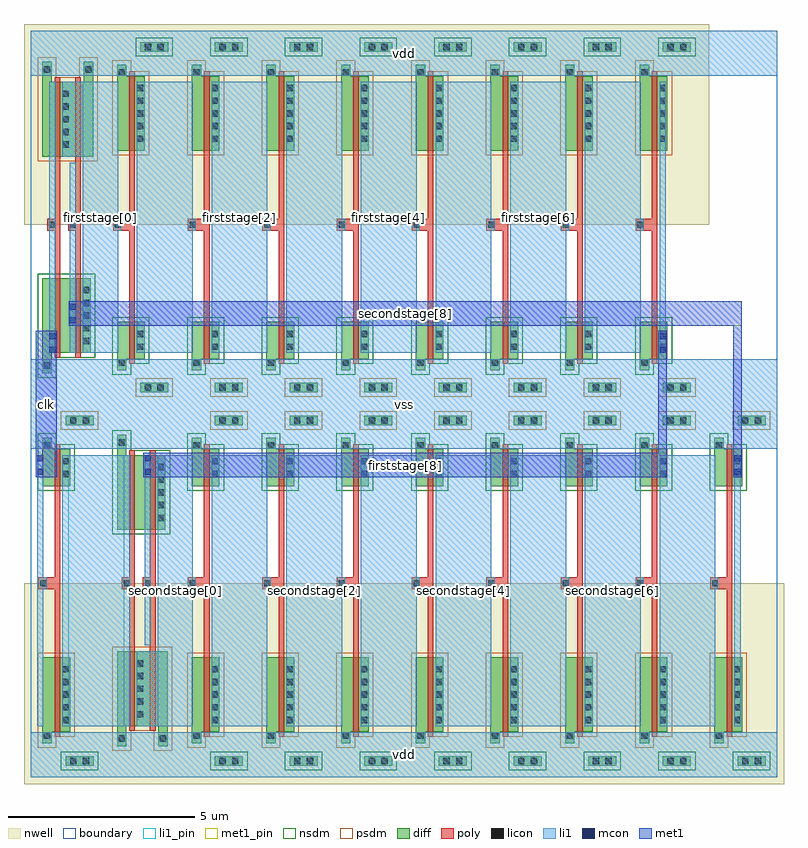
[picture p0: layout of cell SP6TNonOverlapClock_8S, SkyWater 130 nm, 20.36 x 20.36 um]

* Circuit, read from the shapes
.subckt SP6TNonOverlapClock_8S clk firststage[0] firststage[1] firststage[2] firststage[3] firststage[4] firststage[5] firststage[6] firststage[7] firststage[8] secondstage[0] secondstage[1] secondstage[2] secondstage[3] secondstage[4] secondstage[5] secondstage[6] secondstage[7] secondstage[8] vdd vss
XM1 nand2_x0_10/i0 clk vss VSUBS sky130_fd_pr__nfet_01v8 w=1 l=0.15
XM2 n1 clk vss VSUBS sky130_fd_pr__nfet_01v8 w=2 l=0.15
XM3 firststage[0] secondstage[8] n1 VSUBS sky130_fd_pr__nfet_01v8 w=2 l=0.15
XM4 n2 nand2_x0_10/i0 vss VSUBS sky130_fd_pr__nfet_01v8 w=2 l=0.15
XM5 firststage[1] firststage[0] vss VSUBS sky130_fd_pr__nfet_01v8 w=1 l=0.15
XM6 secondstage[0] firststage[8] n2 VSUBS sky130_fd_pr__nfet_01v8 w=2 l=0.15
XM7 secondstage[1] secondstage[0] vss VSUBS sky130_fd_pr__nfet_01v8 w=1 l=0.15
XM8 firststage[2] firststage[1] vss VSUBS sky130_fd_pr__nfet_01v8 w=1 l=0.15
XM9 secondstage[2] secondstage[1] vss VSUBS sky130_fd_pr__nfet_01v8 w=1 l=0.15
XM10 firststage[3] firststage[2] vss VSUBS sky130_fd_pr__nfet_01v8 w=1 l=0.15
XM11 secondstage[3] secondstage[2] vss VSUBS sky130_fd_pr__nfet_01v8 w=1 l=0.15
XM12 firststage[4] firststage[3] vss VSUBS sky130_fd_pr__nfet_01v8 w=1 l=0.15
XM13 secondstage[4] secondstage[3] vss VSUBS sky130_fd_pr__nfet_01v8 w=1 l=0.15
XM14 firststage[5] firststage[4] vss VSUBS sky130_fd_pr__nfet_01v8 w=1 l=0.15
XM15 secondstage[5] secondstage[4] vss VSUBS sky130_fd_pr__nfet_01v8 w=1 l=0.15
XM16 firststage[6] firststage[5] vss VSUBS sky130_fd_pr__nfet_01v8 w=1 l=0.15
XM17 secondstage[6] secondstage[5] vss VSUBS sky130_fd_pr__nfet_01v8 w=1 l=0.15
XM18 firststage[7] firststage[6] vss VSUBS sky130_fd_pr__nfet_01v8 w=1 l=0.15
XM19 secondstage[7] secondstage[6] vss VSUBS sky130_fd_pr__nfet_01v8 w=1 l=0.15
XM20 firststage[8] firststage[7] vss VSUBS sky130_fd_pr__nfet_01v8 w=1 l=0.15
XM21 secondstage[8] secondstage[7] vss VSUBS sky130_fd_pr__nfet_01v8 w=1 l=0.15
XM22 nand2_x0_10/i0 clk vdd n3 sky130_fd_pr__pfet_01v8 w=2 l=0.15
XM23 firststage[0] clk vdd n4 sky130_fd_pr__pfet_01v8 w=2 l=0.15
XM24 vdd secondstage[8] firststage[0] n4 sky130_fd_pr__pfet_01v8 w=2 l=0.15
XM25 secondstage[0] nand2_x0_10/i0 vdd n3 sky130_fd_pr__pfet_01v8 w=2 l=0.15
XM26 firststage[1] firststage[0] vdd n4 sky130_fd_pr__pfet_01v8 w=2 l=0.15
XM27 vdd firststage[8] secondstage[0] n3 sky130_fd_pr__pfet_01v8 w=2 l=0.15
XM28 secondstage[1] secondstage[0] vdd n3 sky130_fd_pr__pfet_01v8 w=2 l=0.15
XM29 firststage[2] firststage[1] vdd n4 sky130_fd_pr__pfet_01v8 w=2 l=0.15
XM30 secondstage[2] secondstage[1] vdd n3 sky130_fd_pr__pfet_01v8 w=2 l=0.15
XM31 firststage[3] firststage[2] vdd n4 sky130_fd_pr__pfet_01v8 w=2 l=0.15
XM32 secondstage[3] secondstage[2] vdd n3 sky130_fd_pr__pfet_01v8 w=2 l=0.15
XM33 firststage[4] firststage[3] vdd n4 sky130_fd_pr__pfet_01v8 w=2 l=0.15
XM34 secondstage[4] secondstage[3] vdd n3 sky130_fd_pr__pfet_01v8 w=2 l=0.15
XM35 firststage[5] firststage[4] vdd n4 sky130_fd_pr__pfet_01v8 w=2 l=0.15
XM36 secondstage[5] secondstage[4] vdd n3 sky130_fd_pr__pfet_01v8 w=2 l=0.15
XM37 firststage[6] firststage[5] vdd n4 sky130_fd_pr__pfet_01v8 w=2 l=0.15
XM38 secondstage[6] secondstage[5] vdd n3 sky130_fd_pr__pfet_01v8 w=2 l=0.15
XM39 firststage[7] firststage[6] vdd n4 sky130_fd_pr__pfet_01v8 w=2 l=0.15
XM40 secondstage[7] secondstage[6] vdd n3 sky130_fd_pr__pfet_01v8 w=2 l=0.15
XM41 firststage[8] firststage[7] vdd n4 sky130_fd_pr__pfet_01v8 w=2 l=0.15
XM42 secondstage[8] secondstage[7] vdd n3 sky130_fd_pr__pfet_01v8 w=2 l=0.15
.ends

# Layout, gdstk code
import gdstk
lib = gdstk.Library(unit=1e-6, precision=1e-09)
def R(c, l, rs):  # rectangles x0, y0, x1, y1
    for r in rs: c.add(gdstk.rectangle(r[:2], r[2:], *l))
def A(c, l, x, y, w, h, nx, ny, dx, dy):  # array of equal rectangles
    R(c, l, [(x+i*dx, y+j*dy, x+i*dx+w, y+j*dy+h) for i in range(nx) for j in range(ny)])
def P(c, l, *ps):  # polygons
    for p in ps: c.add(gdstk.Polygon(p, *l))
nwell = (64, 20)
diff = (65, 20)
poly = (66, 20)
licon = (66, 44)
li1_pin = (67, 16)
li1 = (67, 20)
mcon = (67, 44)
met1_pin = (68, 16)
met1 = (68, 20)
nsdm = (93, 44)
psdm = (94, 20)
boundary = (235, 4)

nand2_x0 = lib.new_cell('nand2_x0')
R(nand2_x0, nwell, [(-0.18,4.8,2.18,10.18), (0.625,6.45,1.235,8.81)])
P(nand2_x0, diff, [(0.315,0.83),(0.315,3.37),(1.61,3.37),(1.61,1.37),(0.565,1.37),(0.565,0.83)],
  [(0.315,6.63),(0.315,9.17),(0.565,9.17),(0.565,8.63),(1.42,8.63),(1.42,9.17),(1.67,9.17),(1.67,6.63)])
P(nand2_x0, poly, [(0.64,1.24),(0.64,4.635),(0.445,4.635),(0.445,4.965),(0.64,4.965),(0.64,8.76),(0.79,8.76),(0.79,1.24)],
  [(1.195,1.24),(1.195,4.635),(1,4.635),(1,4.965),(1.195,4.965),(1.195,8.76),(1.345,8.76),(1.345,1.24)])
A(nand2_x0, licon, 1.4, 1.605, 0.17, 0.17, 1, 5, 0, 0.34)
A(nand2_x0, licon, 0.845, 6.865, 0.17, 0.17, 1, 5, 0, 0.34)
R(nand2_x0, licon, [(0.355,0.95,0.525,1.12), (0.495,4.715,0.665,4.885), (1.05,4.715,1.22,4.885), (0.355,8.88,0.525,9.05), (1.46,8.88,1.63,9.05)])
R(nand2_x0, li1_pin, [(0,0,2,1.2), (0.495,1.37,0.665,8.63), (1.05,1.37,1.22,6.46), (1.4,1.37,1.57,8.63), (0,8.8,2,10)])
R(nand2_x0, li1, [(0,0,2,1.2), (0.495,1.37,0.665,8.63), (1.05,1.37,1.22,6.46), (0,8.8,2,10)])
P(nand2_x0, li1, [(1.4,1.37),(1.4,6.63),(0.845,6.63),(0.845,8.63),(1.57,8.63),(1.57,1.37)])
P(nand2_x0, nsdm, [(0.19,0.705),(0.19,3.495),(1.735,3.495),(1.735,1.245),(0.69,1.245),(0.69,0.705)])
P(nand2_x0, psdm, [(0.19,6.505),(0.19,9.295),(0.69,9.295),(0.69,8.755),(1.295,8.755),(1.295,9.295),(1.795,9.295),(1.795,6.505)])
nand2_x0.add(gdstk.Label('vss', (1,0.6), layer=67, texttype=16))
nand2_x0.add(gdstk.Label('vdd', (1,9.4), layer=67, texttype=16))
nand2_x0.add(gdstk.Label('i0', (0.58,5), layer=67, texttype=16))
nand2_x0.add(gdstk.Label('nq', (1.485,5), layer=67, texttype=16))
nand2_x0.add(gdstk.Label('i1', (1.135,3.915), layer=67, texttype=16))

inv_x0 = lib.new_cell('inv_x0')
R(inv_x0, nwell, [(-0.18,4.8,2.18,10.18)])
R(inv_x0, diff, [(0.935,0.315,1.685,0.565), (0.935,9.435,1.685,9.685)])
P(inv_x0, diff, [(0.315,0.91),(0.315,2.205),(1.055,2.205),(1.055,1.205),(0.565,1.205),(0.565,0.91)],
  [(0.315,6.785),(0.315,9.09),(0.565,9.09),(0.565,8.785),(1.055,8.785),(1.055,6.785)])
P(inv_x0, poly, [(0.64,1.075),(0.64,4.635),(0.205,4.635),(0.205,4.965),(0.64,4.965),(0.64,8.915),(0.79,8.915),(0.79,1.075)])
A(inv_x0, licon, 0.845, 7.02, 0.17, 0.17, 1, 5, 0, 0.34)
R(inv_x0, licon, [(1.055,0.355,1.225,0.525), (1.395,0.355,1.565,0.525), (0.355,1.03,0.525,1.2), (0.845,1.45,1.015,1.62), (0.845,1.79,1.015,1.96), (0.255,4.715,0.425,4.885), (0.355,8.8,0.525,8.97), (1.055,9.475,1.225,9.645), (1.395,9.475,1.565,9.645)])
R(inv_x0, li1_pin, [(0,0,2,1.2), (0.17,1.37,0.34,8.63), (0.845,1.37,1.015,8.63), (0,8.8,2,10)])
R(inv_x0, li1, [(0,0,2,1.2), (0.845,1.37,1.015,8.63), (0,8.8,2,10)])
P(inv_x0, li1, [(0.17,1.37),(0.17,8.63),(0.34,8.63),(0.34,4.965),(0.425,4.965),(0.425,4.635),(0.34,4.635),(0.34,1.37)])
R(inv_x0, nsdm, [(0.81,9.31,1.81,9.81)])
P(inv_x0, nsdm, [(0.19,0.785),(0.19,2.33),(1.18,2.33),(1.18,1.08),(0.69,1.08),(0.69,0.785)])
R(inv_x0, psdm, [(0.81,0.19,1.81,0.69)])
P(inv_x0, psdm, [(0.19,6.66),(0.19,9.215),(0.69,9.215),(0.69,8.91),(1.18,8.91),(1.18,6.66)])
inv_x0.add(gdstk.Label('i', (0.255,5), layer=67, texttype=16))
inv_x0.add(gdstk.Label('vss', (1,0.6), layer=67, texttype=16))
inv_x0.add(gdstk.Label('vdd', (1,9.4), layer=67, texttype=16))
inv_x0.add(gdstk.Label('nq', (0.93,5), layer=67, texttype=16))

sp6tnonoverlapclock_8s = lib.new_cell('SP6TNonOverlapClock_8S')
A(sp6tnonoverlapclock_8s, li1_pin, 4.845, -8.63, 1.495, 7.26, 7, 1, 2, 0)
A(sp6tnonoverlapclock_8s, li1_pin, 2.845, 1.37, 1.495, 7.26, 7, 1, 2, 0)
R(sp6tnonoverlapclock_8s, li1_pin, [(0,-10,20,-8.8), (3.4,-8.63,4.34,-1.37), (0,-1.2,20,1.2), (1.4,1.37,2.34,8.63), (0,8.8,20,10)])
A(sp6tnonoverlapclock_8s, li1, 4.845, -8.63, 1.495, 7.26, 7, 1, 2, 0)
A(sp6tnonoverlapclock_8s, li1, 2.845, 1.37, 1.495, 7.26, 7, 1, 2, 0)
R(sp6tnonoverlapclock_8s, li1, [(0,-10,20,-8.8), (0.845,-8.63,2.665,-1.37), (3.4,-8.63,4.34,-1.37), (0.17,-1.9,0.34,-1.37), (3.05,-1.9,3.22,-1.37), (18.845,-1.9,19.015,-1.37), (0,-1.2,20,1.2), (0.495,1.37,0.665,1.9), (1.4,1.37,2.34,8.63), (16.845,1.37,17.015,1.9), (1.05,2.16,1.22,2.69), (0,8.8,20,10)])
R(sp6tnonoverlapclock_8s, mcon, [(0.17,-1.9,0.34,-1.73), (3.05,-1.9,3.22,-1.73), (18.845,-1.9,19.015,-1.73), (0.17,-1.54,0.34,-1.37), (3.05,-1.54,3.22,-1.37), (18.845,-1.54,19.015,-1.37), (0.495,1.37,0.665,1.54), (16.845,1.37,17.015,1.54), (0.495,1.73,0.665,1.9), (16.845,1.73,17.015,1.9), (1.05,2.16,1.22,2.33), (1.05,2.52,1.22,2.69)])
R(sp6tnonoverlapclock_8s, met1_pin, [(0.14,-1.96,0.695,1.96), (3.02,-1.96,17.045,-1.31), (1.02,2.1,19.045,2.75)])
R(sp6tnonoverlapclock_8s, met1, [(0.14,-1.96,0.695,1.96)])
P(sp6tnonoverlapclock_8s, met1, [(3.02,-1.96),(3.02,-1.31),(16.815,-1.31),(16.815,1.96),(17.045,1.96),(17.045,-1.96)],
  [(18.815,-1.96),(18.815,2.1),(1.02,2.1),(1.02,2.75),(19.045,2.75),(19.045,-1.96)])
R(sp6tnonoverlapclock_8s, boundary, [(0,-10,20,10)])
sp6tnonoverlapclock_8s.add(gdstk.Reference(nand2_x0, (0,0)))
sp6tnonoverlapclock_8s.add(gdstk.Reference(inv_x0, (2,0)))
sp6tnonoverlapclock_8s.add(gdstk.Reference(inv_x0, (4,0)))
sp6tnonoverlapclock_8s.add(gdstk.Reference(inv_x0, (6,0)))
sp6tnonoverlapclock_8s.add(gdstk.Reference(inv_x0, (8,0)))
sp6tnonoverlapclock_8s.add(gdstk.Reference(inv_x0, (10,0)))
sp6tnonoverlapclock_8s.add(gdstk.Reference(inv_x0, (12,0)))
sp6tnonoverlapclock_8s.add(gdstk.Reference(inv_x0, (14,0)))
sp6tnonoverlapclock_8s.add(gdstk.Reference(inv_x0, (16,0)))
sp6tnonoverlapclock_8s.add(gdstk.Reference(inv_x0, (0,0), x_reflection=True))
sp6tnonoverlapclock_8s.add(gdstk.Reference(nand2_x0, (2,0), x_reflection=True))
sp6tnonoverlapclock_8s.add(gdstk.Reference(inv_x0, (4,0), x_reflection=True))
sp6tnonoverlapclock_8s.add(gdstk.Reference(inv_x0, (6,0), x_reflection=True))
sp6tnonoverlapclock_8s.add(gdstk.Reference(inv_x0, (8,0), x_reflection=True))
sp6tnonoverlapclock_8s.add(gdstk.Reference(inv_x0, (10,0), x_reflection=True))
sp6tnonoverlapclock_8s.add(gdstk.Reference(inv_x0, (12,0), x_reflection=True))
sp6tnonoverlapclock_8s.add(gdstk.Reference(inv_x0, (14,0), x_reflection=True))
sp6tnonoverlapclock_8s.add(gdstk.Reference(inv_x0, (16,0), x_reflection=True))
sp6tnonoverlapclock_8s.add(gdstk.Reference(inv_x0, (18,0), x_reflection=True))
sp6tnonoverlapclock_8s.add(gdstk.Label('clk', (0.417,0), layer=68, texttype=16))
sp6tnonoverlapclock_8s.add(gdstk.Label('firststage[8]', (10.032,-1.635), layer=68, texttype=16))
sp6tnonoverlapclock_8s.add(gdstk.Label('secondstage[8]', (10.032,2.425), layer=68, texttype=16))
sp6tnonoverlapclock_8s.add(gdstk.Label('vss', (10,0), layer=67, texttype=16))
sp6tnonoverlapclock_8s.add(gdstk.Label('vdd', (10,-9.4), layer=67, texttype=16))
sp6tnonoverlapclock_8s.add(gdstk.Label('vdd', (10,9.4), layer=67, texttype=16))
sp6tnonoverlapclock_8s.add(gdstk.Label('firststage[0]', (1.87,5), layer=67, texttype=16))
sp6tnonoverlapclock_8s.add(gdstk.Label('firststage[1]', (3.593,5), layer=67, texttype=16))
sp6tnonoverlapclock_8s.add(gdstk.Label('firststage[2]', (5.592,5), layer=67, texttype=16))
sp6tnonoverlapclock_8s.add(gdstk.Label('firststage[3]', (7.592,5), layer=67, texttype=16))
sp6tnonoverlapclock_8s.add(gdstk.Label('firststage[4]', (9.593,5), layer=67, texttype=16))
sp6tnonoverlapclock_8s.add(gdstk.Label('firststage[5]', (11.593,5), layer=67, texttype=16))
sp6tnonoverlapclock_8s.add(gdstk.Label('firststage[6]', (13.593,5), layer=67, texttype=16))
sp6tnonoverlapclock_8s.add(gdstk.Label('firststage[7]', (15.593,5), layer=67, texttype=16))
sp6tnonoverlapclock_8s.add(gdstk.Label('secondstage[0]', (3.87,-5), layer=67, texttype=16))
sp6tnonoverlapclock_8s.add(gdstk.Label('secondstage[1]', (5.592,-5), layer=67, texttype=16))
sp6tnonoverlapclock_8s.add(gdstk.Label('secondstage[2]', (7.592,-5), layer=67, texttype=16))
sp6tnonoverlapclock_8s.add(gdstk.Label('secondstage[3]', (9.593,-5), layer=67, texttype=16))
sp6tnonoverlapclock_8s.add(gdstk.Label('secondstage[4]', (11.593,-5), layer=67, texttype=16))
sp6tnonoverlapclock_8s.add(gdstk.Label('secondstage[5]', (13.593,-5), layer=67, texttype=16))
sp6tnonoverlapclock_8s.add(gdstk.Label('secondstage[6]', (15.593,-5), layer=67, texttype=16))
sp6tnonoverlapclock_8s.add(gdstk.Label('secondstage[7]', (17.593,-5), layer=67, texttype=16))

lib.write_gds('SP6TNonOverlapClock_8S.gds')
